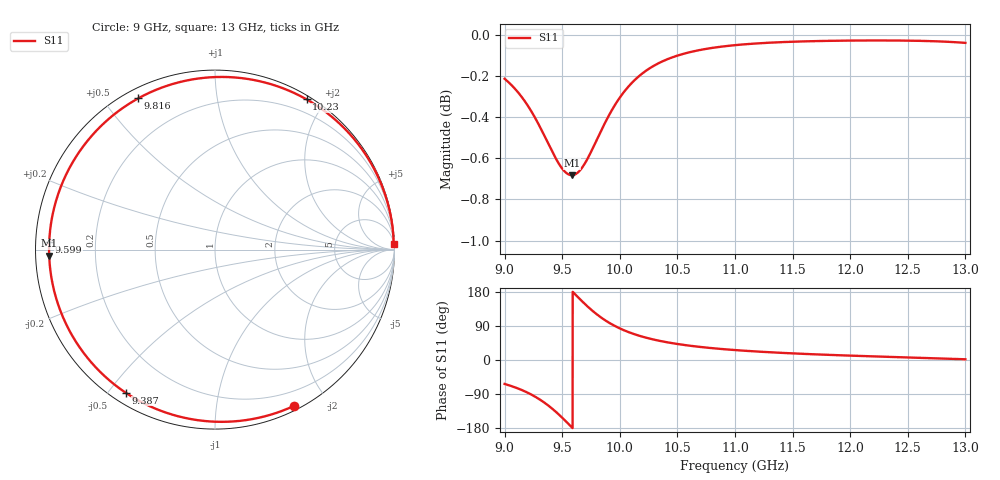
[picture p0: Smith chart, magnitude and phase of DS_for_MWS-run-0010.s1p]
! TOUCHSTONE file generated by CST DESIGN STUDIO
! Date and time: Tue Feb  4 14:25:39 2025
! Project name: C:\Work\MatlabApps\UnitCellOptimizationMatlab\CST\unitcell.cst
! Tree item: Tasks\Sweep1\SPara1\S-Parameters
! Header version: 2024
! Port assignment regex: !\s*Touchstone port\s*([0-9]+)\s*=\s*(CST MWS port|CST DES external port|CST DES block port)\s*(.+)\s* \(\"(.*)\"\)(\s*mode\s*([0-9]+))?.*
! Touchstone port assignment:
! Touchstone port 1 = CST DES external port 1 ("")
# GHz S MA R 50
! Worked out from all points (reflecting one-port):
!   4001 points, 9 GHz to 13 GHz, reference 50 ohm
!   lowest |S11| = -0.7 dB at 9.584 GHz (marker M1), VSWR 25.47, Z = 1.96 - j0.937 ohm
!   phase of S11 starts at -63 deg and turns -295 deg over the sweep
!   S11 on the Smith chart (normalised r, x): 9 GHz: 0.04, -1.62; 9.387 GHz: 0.04, -0.55; 9.599 GHz: 0.04, +0.02; 9.816 GHz: 0.04, +0.61; 10.23 GHz: 0.04, +1.78; 13 GHz: 8, +59
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9  0.9757 -63.2
9.049  0.9729 -67.8
9.118  0.9682 -75.4
9.237  0.9576 -92.0
9.317  0.9485 -106.6
9.387  0.9399 -122.0
9.443  0.9333 -136.2
9.5  0.9278 -152.3
9.543  0.9253 -165.2
9.584  0.9244 -177.9
9.599  0.9246 177.5
9.654  0.9269 160.5
9.715  0.9325 142.7
9.765  0.9384 129.3
9.816  0.9449 116.9
9.857  0.9501 108.0
9.9  0.9553 99.6
10  0.9655 83.4
10.11  0.9738 69.8
10.231  0.9802 58.6
10.355  0.9848 50.0
10.5  0.9884 42.3
10.72  0.9918 33.7
11  0.9942 26.2
11.5  0.9961 17.4
12  0.9968 11.5
12.5  0.9967 6.7
13  0.9955 1.9
